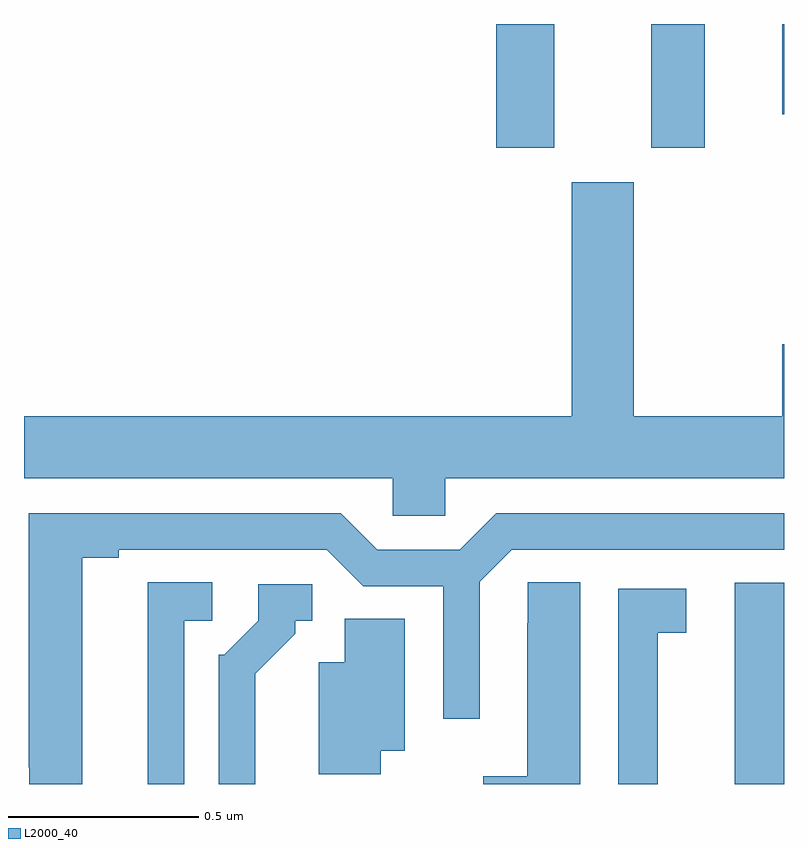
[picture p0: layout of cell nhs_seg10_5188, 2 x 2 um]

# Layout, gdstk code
import gdstk
lib = gdstk.Library(unit=1e-6, precision=1e-09)
def R(c, l, rs):  # rectangles x0, y0, x1, y1
    for r in rs: c.add(gdstk.rectangle(r[:2], r[2:], *l))
def P(c, l, *ps):  # polygons
    for p in ps: c.add(gdstk.Polygon(p, *l))
L2000_40 = (2000, 40)

nhs_seg10_5188 = lib.new_cell('nhs_seg10_5188')
R(nhs_seg10_5188, L2000_40, [(176.87,1311.5,177,1312.03), (176.243,1313.175,176.395,1313.5), (176.651,1313.175,176.791,1313.5), (176.996,1313.262,177,1313.5)])
P(nhs_seg10_5188, L2000_40, [(176.109,1312.304),(177,1312.304),(177,1312.657),(176.996,1312.657),(176.996,1312.468),(176.605,1312.468),(176.605,1313.083),(176.441,1313.083),(176.441,1312.468),(175,1312.468),(175,1312.304),(175.971,1312.304),(175.971,1312.206),(176.109,1312.206)],
  [(175.153,1312.096),(175.249,1312.096),(175.249,1312.116),(175.797,1312.116),(175.893,1312.02),(176.103,1312.02),(176.103,1311.672),(176.199,1311.672),(176.199,1312.032),(176.283,1312.116),(177,1312.116),(177,1312.212),(176.243,1312.212),(176.147,1312.116),(175.929,1312.116),(175.833,1312.212),(175.013,1312.212),(175.013,1311.544),(175.014,1311.544),(175.014,1311.5),(175.153,1311.5)],
  [(176.464,1312.031),(176.325,1312.031),(176.325,1311.923),(176.324,1311.923),(176.324,1311.52),(176.208,1311.52),(176.208,1311.5),(176.464,1311.5)],
  [(175.422,1311.93),(175.495,1311.93),(175.495,1312.031),(175.325,1312.031),(175.325,1311.5),(175.422,1311.5)],
  [(175.609,1311.79),(175.714,1311.895),(175.714,1311.93),(175.759,1311.93),(175.759,1312.026),(175.617,1312.026),(175.617,1311.93),(175.527,1311.84),(175.512,1311.84),(175.512,1311.5),(175.609,1311.5)],
  [(176.668,1311.898),(176.743,1311.898),(176.743,1312.014),(176.564,1312.014),(176.564,1311.5),(176.668,1311.5)],
  [(175.939,1311.587),(176.002,1311.587),(176.002,1311.935),(175.844,1311.935),(175.844,1311.82),(175.775,1311.82),(175.775,1311.526),(175.939,1311.526)])

lib.write_gds('nhs_seg10_5188.gds')
